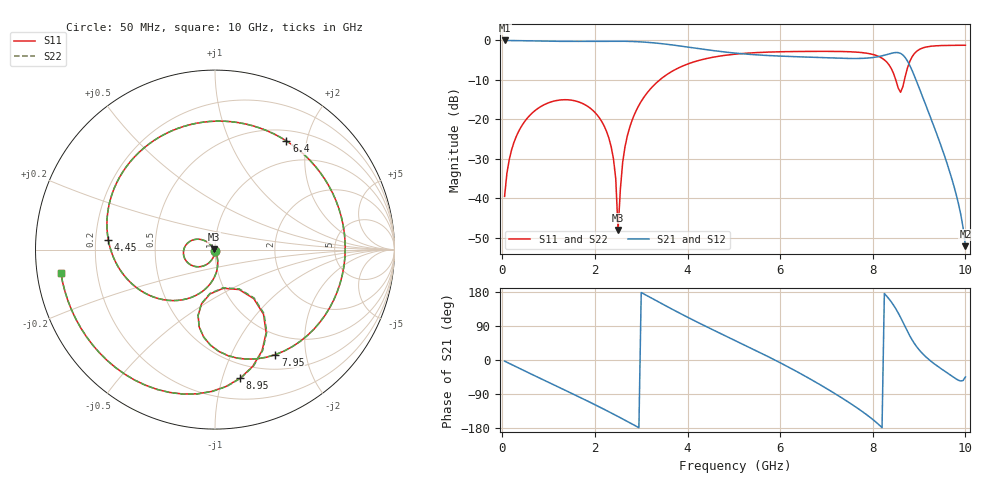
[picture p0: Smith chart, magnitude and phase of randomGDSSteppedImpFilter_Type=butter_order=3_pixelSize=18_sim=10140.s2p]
! freq	dB(S11)	phase(S11)	dB(S12)	phase(S12)
!  dB(S21)	phase(S21)	dB(S22)	phase(S22)
!S-par simulation data
#  GHz  S  DB  R 50
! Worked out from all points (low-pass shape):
!   200 points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, 50 MHz to 10 GHz, reference 50 ohm
!   highest |S21| = -0.01 dB at 50 MHz (marker M1); lowest = -52.1 dB at 10 GHz (marker M2)
!   |S21| within 3 dB of the highest: start of sweep to 4.863 GHz
!   lowest |S11| = -48.0 dB at 2.5 GHz (marker M3), VSWR 1.01, Z = 49.6 + j0.0789 ohm
!   |S11| at or under -10 dB: start of sweep to 3.399 GHz; 8.497 GHz to 8.683 GHz (186.8 MHz wide, 2.17 % of centre)
!   |S22| runs from -47.8 to -1.2 dB; largest |S21 - S12| = 0
!   S11 on the Smith chart (normalised r, x): 50 MHz: 1.00, -0.02; 4.45 GHz: 0.25, +0.04; 6.4 GHz: 0.65, +1.66; 7.95 GHz: 0.70, -1.50; 8.95 GHz: 0.37, -1.14; 10 GHz: 0.07, -0.07
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0.05  -39.51 -91.3  -0.01 -3.0  -0.01 -3.0  -39.51 -91.3
0.2  -27.76 -101.8  -0.03 -12.0  -0.03 -12.0  -27.76 -101.8
0.55  -19.55 -123.1  -0.09 -32.7  -0.09 -32.7  -19.55 -123.1
1.75  -16.07 166.9  -0.24 -102.9  -0.24 -102.9  -16.07 166.9
2.3  -24.68 135.3  -0.19 -136.5  -0.19 -136.5  -24.68 135.4
2.45  -35.06 132.7  -0.19 -146.0  -0.19 -146.0  -35.05 133.2
2.5  -48.04 168.4  -0.19 -149.2  -0.19 -149.2  -47.79 169.8
2.6  -30.83 -72.7  -0.21 -155.6  -0.21 -155.6  -30.82 -73.1
2.75  -22.06 -78.6  -0.25 -165.4  -0.25 -165.4  -22.06 -78.8
3.4  -9.99 -119.8  -0.77 151.5  -0.77 151.5  -9.99 -119.9
4.45  -4.49 175.0  -2.41 85.5  -2.41 85.5  -4.49 175.0
5.05  -3.45 139.9  -3.23 50.1  -3.23 50.1  -3.45 139.9
5.75  -2.95 98.2  -3.83 8.3  -3.83 8.3  -2.95 98.3
6.4  -2.80 56.7  -4.15 -33.2  -4.15 -33.2  -2.80 56.7
6.7  -2.77 36.2  -4.27 -53.7  -4.27 -53.7  -2.77 36.2
7.35  -2.81 -11.4  -4.54 -101.4  -4.54 -101.4  -2.81 -11.3
7.95  -3.41 -60.1  -4.40 -152.0  -4.40 -152.0  -3.41 -60.0
8.35  -6.17 -97.4  -3.43 161.3  -3.43 161.3  -6.18 -97.4
8.65  -11.70 -58.9  -3.69 100.0  -3.69 100.0  -11.79 -58.3
8.95  -2.73 -78.9  -10.48 34.8  -10.48 34.8  -2.74 -78.5
9.7  -1.25 -149.8  -34.78 -41.8  -34.78 -41.8  -1.25 -149.6
10  -1.22 -171.5  -52.12 -44.8  -52.12 -44.8  -1.22 -171.2
